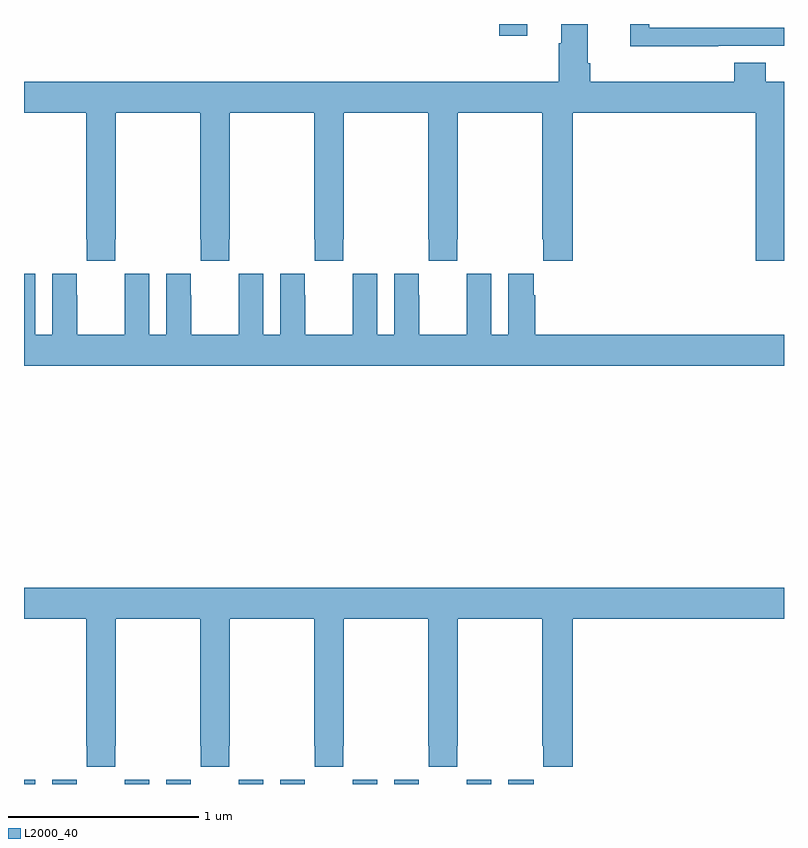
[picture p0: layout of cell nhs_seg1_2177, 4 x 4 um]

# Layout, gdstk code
import gdstk
lib = gdstk.Library(unit=1e-6, precision=1e-09)
def R(c, l, rs):  # rectangles x0, y0, x1, y1
    for r in rs: c.add(gdstk.rectangle(r[:2], r[2:], *l))
def P(c, l, *ps):  # polygons
    for p in ps: c.add(gdstk.Polygon(p, *l))
L2000_40 = (2000, 40)

nhs_seg1_2177 = lib.new_cell('nhs_seg1_2177')
R(nhs_seg1_2177, L2000_40, [(229,548.199,229.06,548.221), (229.148,548.199,229.278,548.221), (229.53,548.199,229.66,548.221), (229.748,548.199,229.878,548.221), (230.13,548.199,230.26,548.221), (230.348,548.199,230.478,548.221), (230.73,548.199,230.86,548.221), (230.948,548.199,231.078,548.221), (231.33,548.199,231.46,548.221), (231.548,548.199,231.682,548.221), (231.501,552.138,231.649,552.199)])
P(nhs_seg1_2177, L2000_40, [(229.479,551.065),(229.482,551.065),(229.482,551.732),(229.927,551.732),(229.927,551.065),(229.929,551.065),(229.929,550.953),(230.079,550.953),(230.079,551.065),(230.082,551.065),(230.082,551.732),(230.527,551.732),(230.527,551.065),(230.529,551.065),(230.529,550.953),(230.679,550.953),(230.679,551.065),(230.682,551.065),(230.682,551.732),(231.127,551.732),(231.127,551.065),(231.129,551.065),(231.129,550.953),(231.279,550.953),(231.279,551.065),(231.282,551.065),(231.282,551.732),(231.727,551.732),(231.727,551.065),(231.733,551.065),(231.733,550.953),(231.887,550.953),(231.887,551.732),(232.85,551.732),(232.85,550.953),(233,550.953),(233,551.896),(232.904,551.896),(232.904,551.995),(232.739,551.995),(232.739,551.896),(231.98,551.896),(231.98,551.992),(231.967,551.992),(231.967,552.199),(231.827,552.199),(231.827,552.098),(231.815,552.098),(231.815,551.896),(229,551.896),(229,551.732),(229.327,551.732),(229.327,551.065),(229.329,551.065),(229.329,550.953),(229.479,550.953)],
  [(232.655,552.084),(233,552.084),(233,552.18),(232.29,552.18),(232.29,552.199),(232.192,552.199),(232.192,552.083),(232.655,552.083)],
  [(233,550.564),(231.692,550.564),(231.692,550.772),(231.682,550.772),(231.682,550.885),(231.548,550.885),(231.548,550.564),(231.46,550.564),(231.46,550.885),(231.33,550.885),(231.33,550.772),(231.329,550.772),(231.329,550.564),(231.079,550.564),(231.079,550.772),(231.078,550.772),(231.078,550.885),(230.948,550.885),(230.948,550.564),(230.86,550.564),(230.86,550.885),(230.73,550.885),(230.73,550.772),(230.729,550.772),(230.729,550.564),(230.479,550.564),(230.479,550.772),(230.478,550.772),(230.478,550.885),(230.348,550.885),(230.348,550.564),(230.26,550.564),(230.26,550.885),(230.13,550.885),(230.13,550.772),(230.129,550.772),(230.129,550.564),(229.879,550.564),(229.879,550.772),(229.878,550.772),(229.878,550.885),(229.748,550.885),(229.748,550.564),(229.66,550.564),(229.66,550.885),(229.53,550.885),(229.53,550.772),(229.529,550.772),(229.529,550.564),(229.279,550.564),(229.279,550.772),(229.278,550.772),(229.278,550.885),(229.148,550.885),(229.148,550.564),(229.06,550.564),(229.06,550.885),(229,550.885),(229,550.4),(233,550.4)],
  [(229,549.068),(229.327,549.068),(229.327,548.401),(229.329,548.401),(229.329,548.289),(229.479,548.289),(229.479,548.401),(229.482,548.401),(229.482,549.068),(229.927,549.068),(229.927,548.401),(229.929,548.401),(229.929,548.289),(230.079,548.289),(230.079,548.401),(230.082,548.401),(230.082,549.068),(230.527,549.068),(230.527,548.401),(230.529,548.401),(230.529,548.289),(230.679,548.289),(230.679,548.401),(230.682,548.401),(230.682,549.068),(231.127,549.068),(231.127,548.401),(231.129,548.401),(231.129,548.289),(231.279,548.289),(231.279,548.401),(231.282,548.401),(231.282,549.068),(231.727,549.068),(231.727,548.401),(231.733,548.401),(231.733,548.289),(231.887,548.289),(231.887,549.068),(233,549.068),(233,549.232),(229,549.232)])

lib.write_gds('nhs_seg1_2177.gds')
